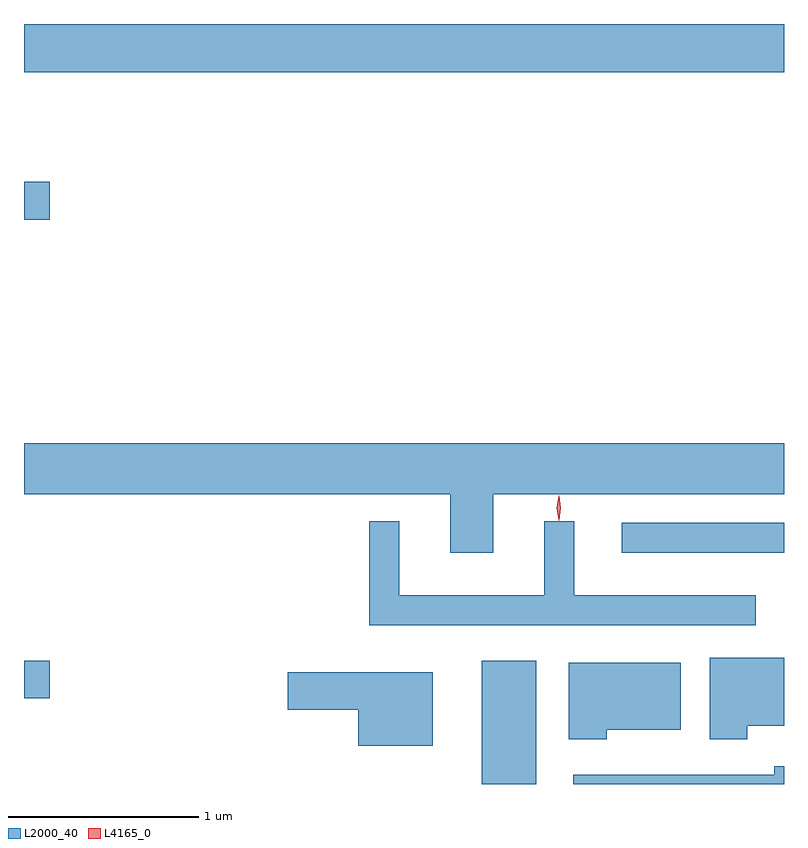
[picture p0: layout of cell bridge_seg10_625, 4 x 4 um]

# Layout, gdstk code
import gdstk
lib = gdstk.Library(unit=1e-6, precision=1e-09)
def R(c, l, rs):  # rectangles x0, y0, x1, y1
    for r in rs: c.add(gdstk.rectangle(r[:2], r[2:], *l))
def P(c, l, *ps):  # polygons
    for p in ps: c.add(gdstk.Polygon(p, *l))
L2000_40 = (2000, 40)
L4165_0 = (4165, 0)

bridge_seg10_625 = lib.new_cell('bridge_seg10_625')
R(bridge_seg10_625, L2000_40, [(744.676,2094.63,744.964,2095.279), (742.268,2095.081,742.404,2095.279), (745.413,2095.846,746.268,2096.004), (742.268,2097.601,742.404,2097.799), (742.268,2098.376,746.268,2098.63)])
P(bridge_seg10_625, L2000_40, [(744.739,2096.156),(746.268,2096.156),(746.268,2096.424),(742.268,2096.424),(742.268,2096.156),(744.511,2096.156),(744.511,2095.846),(744.739,2095.846)],
  [(746.118,2095.624),(745.164,2095.624),(745.164,2096.012),(745.006,2096.012),(745.006,2095.624),(744.244,2095.624),(744.244,2096.012),(744.086,2096.012),(744.086,2095.466),(746.118,2095.466)],
  [(746.074,2094.936),(746.268,2094.936),(746.268,2095.294),(745.876,2095.294),(745.876,2094.866),(746.074,2094.866)],
  [(745.334,2094.916),(745.724,2094.916),(745.724,2095.269),(745.136,2095.269),(745.136,2094.866),(745.334,2094.866)],
  [(744.419,2095.219),(743.656,2095.219),(743.656,2095.021),(744.026,2095.021),(744.026,2094.831),(744.419,2094.831)],
  [(746.268,2094.724),(746.216,2094.724),(746.216,2094.679),(745.158,2094.679),(745.158,2094.63),(746.268,2094.63)])
P(bridge_seg10_625, L4165_0, [(745.083,2096.018),(745.083,2096.018),(745.073,2096.082),(745.082,2096.146),(745.083,2096.147),(745.084,2096.146),(745.093,2096.082),(745.084,2096.018)])

lib.write_gds('bridge_seg10_625.gds')
